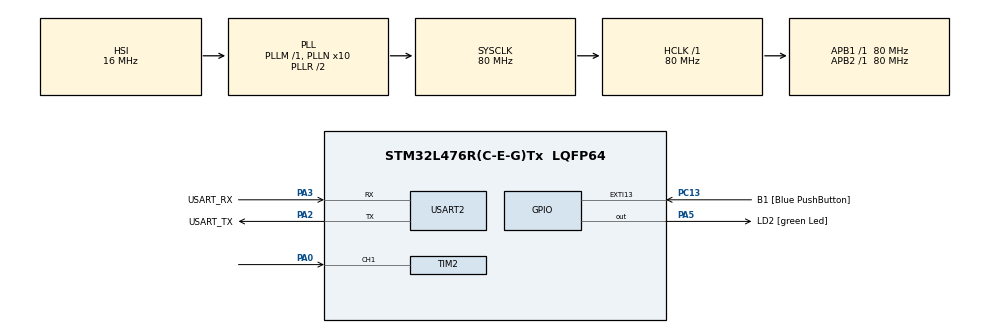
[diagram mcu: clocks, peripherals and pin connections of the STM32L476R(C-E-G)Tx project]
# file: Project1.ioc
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Mcu.Family=STM32L4
Mcu.Name=STM32L476R(C-E-G)Tx
Mcu.Package=LQFP64
NVIC.PriorityGroup=NVIC_PRIORITYGROUP_4
NVIC.TIM2_IRQn=true\:0\:0\:false\:false\:true\:true\:true\:true
PA0.Signal=S_TIM2_CH1
PA13\ (JTMS-SWDIO).GPIO_Label=TMS
PA13\ (JTMS-SWDIO).Mode=Serial_Wire
PA13\ (JTMS-SWDIO).Signal=SYS_JTMS-SWDIO
PA14\ (JTCK-SWCLK).GPIO_Label=TCK
PA14\ (JTCK-SWCLK).Mode=Serial_Wire
PA14\ (JTCK-SWCLK).Signal=SYS_JTCK-SWCLK
PA2.GPIO_Label=USART_TX
PA2.GPIO_Mode=GPIO_MODE_AF_PP
PA2.GPIO_PuPd=GPIO_NOPULL
PA2.GPIO_Speed=GPIO_SPEED_FREQ_VERY_HIGH
PA2.Mode=Asynchronous
PA2.Signal=USART2_TX
PA3.GPIO_Label=USART_RX
PA3.GPIO_Mode=GPIO_MODE_AF_PP
PA3.GPIO_PuPd=GPIO_NOPULL
PA3.GPIO_Speed=GPIO_SPEED_FREQ_VERY_HIGH
PA3.Mode=Asynchronous
PA3.Signal=USART2_RX
PA5.GPIO_Label=LD2 [green Led]
PA5.GPIO_ModeDefaultOutputPP=GPIO_MODE_OUTPUT_PP
PA5.GPIO_PuPd=GPIO_NOPULL
PA5.GPIO_Speed=GPIO_SPEED_FREQ_LOW
PA5.Signal=GPIO_Output
PB3\ (JTDO-TRACESWO).GPIO_Label=SWO
PB3\ (JTDO-TRACESWO).Signal=SYS_JTDO-SWO
PC13.GPIO_Label=B1 [Blue PushButton]
PC13.GPIO_ModeDefaultEXTI=GPIO_MODE_IT_FALLING
PC13.GPIO_PuPd=GPIO_NOPULL
PC13.Signal=GPXTI13
PC14-OSC32_IN\ (PC14).Mode=LSE-External-Oscillator
PC14-OSC32_IN\ (PC14).Signal=RCC_OSC32_IN
PC15-OSC32_OUT\ (PC15).Mode=LSE-External-Oscillator
PC15-OSC32_OUT\ (PC15).Signal=RCC_OSC32_OUT
PH0-OSC_IN\ (PH0).Signal=RCC_OSC_IN
PH1-OSC_OUT\ (PH1).Signal=RCC_OSC_OUT
ProjectManager.HeapSize=0x200
ProjectManager.StackSize=0x400
ProjectManager.TargetToolchain=STM32CubeIDE
RCC.ADCFreq_Value=64000000
RCC.AHBFreq_Value=80000000
RCC.APB1Freq_Value=80000000
RCC.APB1TimFreq_Value=80000000
RCC.APB2Freq_Value=80000000
RCC.APB2TimFreq_Value=80000000
RCC.CortexFreq_Value=80000000
RCC.HCLKFreq_Value=80000000
RCC.HSE_VALUE=8000000
RCC.HSI_VALUE=16000000
RCC.MSI_VALUE=4000000
RCC.PLLN=10
RCC.PLLSourceVirtual=RCC_PLLSOURCE_HSI
RCC.PREFETCH_ENABLE=1
RCC.SYSCLKFreq_VALUE=80000000
RCC.SYSCLKSource=RCC_SYSCLKSOURCE_PLLCLK
RCC.USBFreq_Value=64000000
RCC.VCOOutputFreq_Value=160000000
SH.S_TIM2_CH1.0=TIM2_CH1,Input_Capture1_from_TI1
TIM2.Channel-Input_Capture1_from_TI1=TIM_CHANNEL_1
TIM2.Prescaler=80 - 1
USART2.VirtualMode-Asynchronous=VM_ASYNC
VP_TIM2_VS_ClockSourceINT.Mode=Internal
board=NUCLEO-L476RG

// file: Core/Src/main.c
/* USER CODE BEGIN Header */
/**
  ******************************************************************************
  * @file           : main.c
  * @brief          : Main program body
  ******************************************************************************
  * @attention
  *
  * Copyright (c) 2022 STMicroelectronics.
  * All rights reserved.
  *
  * This software is licensed under terms that can be found in the LICENSE file
  * in the root directory of this software component.
  * If no LICENSE file comes with this software, it is provided AS-IS.
  *
  ******************************************************************************
  */
/* USER CODE END Header */
#include "main.h"

/* USER CODE BEGIN Includes */
#include "stdio.h"
#include "stdlib.h"
#include "uart.h"
#include "string.h"
/* USER CODE END Includes */

/* USER CODE BEGIN PD */
#define MAX_SIZE 50
#define CLK 80000000
#define PRESCALAR 80
/* USER CODE END PD */

TIM_HandleTypeDef htim2;

UART_HandleTypeDef huart2;

/* USER CODE BEGIN PV */
uint32_t buffer[20] = {0};	     // holds the user response
int buckets[101][2] = {0};
uint32_t ic_val_1 = 0;
uint32_t ic_val_2 = 0;
int first_flg = 0;
_Bool int_flg = 0;
int frequency = 0;

/* USER CODE END PV */

void SystemClock_Config(void);
static void MX_GPIO_Init(void);
static void MX_USART2_UART_Init(void);
static void MX_TIM2_Init(void);

int main(void)
{
  /* USER CODE BEGIN 1 */
	int mid_frequency = 1000;
	int lower_limit = mid_frequency - 50;
	int upper_limit = lower_limit + 100;
	char *pend;
	int sum = 0;

	memset(buckets, 0, 202);
  /* USER CODE END 1 */

  /* MCU Configuration--------------------------------------------------------*/

  /* Reset of all peripherals, Initializes the Flash interface and the Systick. */
  HAL_Init();

  /* Configure the system clock */
  SystemClock_Config();

  /* Initialize all configured peripherals */
  MX_GPIO_Init();
  MX_USART2_UART_Init();
  MX_TIM2_Init();
  /* USER CODE BEGIN 2 */
  HAL_TIM_IC_Start_IT(&htim2, TIM_CHANNEL_1); // Starts timer 2 in input capture mode
  /* USER CODE END 2 */

  /* Infinite loop */
  /* USER CODE BEGIN WHILE */
  while (power_on_self_test() == 0)
  {
    /* USER CODE END WHILE */

    /* USER CODE BEGIN 3 */
	  printf("\n\rDisplaying Current Spectrum Bounds: \n\r\tLowerLimit Frequency: %d\n\r", lower_limit);
	  printf("\tInitial Midpoint Frequency: %d\n\r", mid_frequency);
	  printf("\tUpperLimit Frequency: %d\n\r", upper_limit);
	  printf("Is this okay?: \n");
	  get_line(buffer, MAX_SIZE);

	  if(strchr(buffer, 'n') || strchr(buffer, 'N') || strchr(buffer, 'No') || strchr(buffer, 'no'))
	  {
		  memset(buffer, 0, sizeof(buffer));
		  printf("Please specify a new lower limit (in Hz): \n\r");
		  get_line(buffer, MAX_SIZE);
		  //HAL_Delay(500);

		  mid_frequency = strtol(buffer, &pend, 10);
		  lower_limit = mid_frequency - 50;
		  upper_limit = mid_frequency + 50;
		  printf("\tLowerLimit Frequency: %d\n\r", lower_limit);
		  printf("This is the middle frequency: %d\n\r", mid_frequency);
		  printf("\tUpperLimit Frequency: %d\n\r", upper_limit);

		  printf("\n\r");
	  }

	  for(int i = 0; i <= 100; i++)
	  {
		  buckets[i][0] = lower_limit + i;
		  buckets[i][1] = 0;
	  }

	  printf("\n\rMeasuring...\n\r");

	  int diff = 0;
	  int n = 0;

	  do
	  {
		  if(int_flg)
		  {
			  if(frequency >= lower_limit && frequency <= upper_limit)
			  {
				  diff = frequency - lower_limit;
				  buckets[diff][1] += 1;
				  n++;
			  }

			  int_flg = 0;

		  }
	  }while(n < 1000);

	  printf("Measuring complete, displaying results: \n\r");

	  for(int i = 0; i <= 100; i++)
	  {
		  if(buckets[i][1] != 0)
		  {
			  printf("%d: \t%d\n\r", buckets[i][0], buckets[i][1]);
			  sum += buckets[i][1];
		  }
	  }

	  if(sum < 1000)
	  {
		  int missing = 1000 - sum;
		  printf("There are %d values measured outside of the limits.", missing);
	  }

	  printf("Play again?\n\r");
	  get_line(buffer, MAX_SIZE);

	  if(strchr(buffer, 'n') || strchr(buffer, 'N') || strchr(buffer, 'No') || strchr(buffer, 'no'))
	  {
		  printf("Thanks for playing. Have a good day!\n\r");
		  return 0;
	  }

  }
  main();
  /* USER CODE END 3 */
}

void SystemClock_Config(void)
{
  RCC_OscInitTypeDef RCC_OscInitStruct = {0};
  RCC_ClkInitTypeDef RCC_ClkInitStruct = {0};

  /** Configure the main internal regulator output voltage
  */
  if (HAL_PWREx_ControlVoltageScaling(PWR_REGULATOR_VOLTAGE_SCALE1) != HAL_OK)
  {
    Error_Handler();
  }

  /** Initializes the RCC Oscillators according to the specified parameters
  * in the RCC_OscInitTypeDef structure.
  */
  RCC_OscInitStruct.OscillatorType = RCC_OSCILLATORTYPE_HSI;
  RCC_OscInitStruct.HSIState = RCC_HSI_ON;
  RCC_OscInitStruct.HSICalibrationValue = RCC_HSICALIBRATION_DEFAULT;
  RCC_OscInitStruct.PLL.PLLState = RCC_PLL_ON;
  RCC_OscInitStruct.PLL.PLLSource = RCC_PLLSOURCE_HSI;
  RCC_OscInitStruct.PLL.PLLM = 1;
  RCC_OscInitStruct.PLL.PLLN = 10;
  RCC_OscInitStruct.PLL.PLLP = RCC_PLLP_DIV7;
  RCC_OscInitStruct.PLL.PLLQ = RCC_PLLQ_DIV2;
  RCC_OscInitStruct.PLL.PLLR = RCC_PLLR_DIV2;
  if (HAL_RCC_OscConfig(&RCC_OscInitStruct) != HAL_OK)
  {
    Error_Handler();
  }

  /** Initializes the CPU, AHB and APB buses clocks
  */
  RCC_ClkInitStruct.ClockType = RCC_CLOCKTYPE_HCLK|RCC_CLOCKTYPE_SYSCLK
                              |RCC_CLOCKTYPE_PCLK1|RCC_CLOCKTYPE_PCLK2;
  RCC_ClkInitStruct.SYSCLKSource = RCC_SYSCLKSOURCE_PLLCLK;
  RCC_ClkInitStruct.AHBCLKDivider = RCC_SYSCLK_DIV1;
  RCC_ClkInitStruct.APB1CLKDivider = RCC_HCLK_DIV1;
  RCC_ClkInitStruct.APB2CLKDivider = RCC_HCLK_DIV1;

  if (HAL_RCC_ClockConfig(&RCC_ClkInitStruct, FLASH_LATENCY_4) != HAL_OK)
  {
    Error_Handler();
  }
}

static void MX_TIM2_Init(void)
{

  TIM_ClockConfigTypeDef sClockSourceConfig = {0};
  TIM_MasterConfigTypeDef sMasterConfig = {0};
  TIM_IC_InitTypeDef sConfigIC = {0};

  htim2.Instance = TIM2;
  htim2.Init.Prescaler = 80 - 1;
  htim2.Init.CounterMode = TIM_COUNTERMODE_UP;
  htim2.Init.Period = 4294967295;
  htim2.Init.ClockDivision = TIM_CLOCKDIVISION_DIV1;
  htim2.Init.AutoReloadPreload = TIM_AUTORELOAD_PRELOAD_DISABLE;
  if (HAL_TIM_Base_Init(&htim2) != HAL_OK)
  {
    Error_Handler();
  }
  sClockSourceConfig.ClockSource = TIM_CLOCKSOURCE_INTERNAL;
  if (HAL_TIM_ConfigClockSource(&htim2, &sClockSourceConfig) != HAL_OK)
  {
    Error_Handler();
  }
  if (HAL_TIM_IC_Init(&htim2) != HAL_OK)
  {
    Error_Handler();
  }
  sMasterConfig.MasterOutputTrigger = TIM_TRGO_RESET;
  sMasterConfig.MasterSlaveMode = TIM_MASTERSLAVEMODE_DISABLE;
  if (HAL_TIMEx_MasterConfigSynchronization(&htim2, &sMasterConfig) != HAL_OK)
  {
    Error_Handler();
  }
  sConfigIC.ICPolarity = TIM_INPUTCHANNELPOLARITY_RISING;
  sConfigIC.ICSelection = TIM_ICSELECTION_DIRECTTI;
  sConfigIC.ICPrescaler = TIM_ICPSC_DIV1;
  sConfigIC.ICFilter = 0;
  if (HAL_TIM_IC_ConfigChannel(&htim2, &sConfigIC, TIM_CHANNEL_1) != HAL_OK)
  {
    Error_Handler();
  }

}

static void MX_USART2_UART_Init(void)
{

  huart2.Instance = USART2;
  huart2.Init.BaudRate = 115200;
  huart2.Init.WordLength = UART_WORDLENGTH_8B;
  huart2.Init.StopBits = UART_STOPBITS_1;
  huart2.Init.Parity = UART_PARITY_NONE;
  huart2.Init.Mode = UART_MODE_TX_RX;
  huart2.Init.HwFlowCtl = UART_HWCONTROL_NONE;
  huart2.Init.OverSampling = UART_OVERSAMPLING_16;
  huart2.Init.OneBitSampling = UART_ONE_BIT_SAMPLE_DISABLE;
  huart2.AdvancedInit.AdvFeatureInit = UART_ADVFEATURE_NO_INIT;
  if (HAL_UART_Init(&huart2) != HAL_OK)
  {
    Error_Handler();
  }

}

static void MX_GPIO_Init(void)
{
  GPIO_InitTypeDef GPIO_InitStruct = {0};

  /* GPIO Ports Clock Enable */
  __HAL_RCC_GPIOC_CLK_ENABLE();
  __HAL_RCC_GPIOH_CLK_ENABLE();
  __HAL_RCC_GPIOA_CLK_ENABLE();
  __HAL_RCC_GPIOB_CLK_ENABLE();

  /*Configure GPIO pin Output Level */
  HAL_GPIO_WritePin(LD2_GPIO_Port, LD2_Pin, GPIO_PIN_RESET);

  /*Configure GPIO pin : B1_Pin */
  GPIO_InitStruct.Pin = B1_Pin;
  GPIO_InitStruct.Mode = GPIO_MODE_IT_FALLING;
  GPIO_InitStruct.Pull = GPIO_NOPULL;
  HAL_GPIO_Init(B1_GPIO_Port, &GPIO_InitStruct);

  /*Configure GPIO pin : LD2_Pin */
  GPIO_InitStruct.Pin = LD2_Pin;
  GPIO_InitStruct.Mode = GPIO_MODE_OUTPUT_PP;
  GPIO_InitStruct.Pull = GPIO_NOPULL;
  GPIO_InitStruct.Speed = GPIO_SPEED_FREQ_LOW;
  HAL_GPIO_Init(LD2_GPIO_Port, &GPIO_InitStruct);

}

/* USER CODE BEGIN 4 */
_Bool power_on_self_test(void)
{
	printf("Checking Power On State...\n\r");
	HAL_Delay(2000);
	if(frequency == 0)
	{
		printf("POST Failed. Please connect a signal and try again.\n\r");
		return 1;
	}

	printf("POST  Passed. Beginning the Program!\n\n\r");
	return 0;
}

void HAL_TIM_IC_CaptureCallback(TIM_HandleTypeDef *htim)
{
	int diff = 0;

	if (htim->Channel == HAL_TIM_ACTIVE_CHANNEL_1)
	{
		if(first_flg == 0)
		{
			ic_val_1 = HAL_TIM_ReadCapturedValue(htim, TIM_CHANNEL_1);
			first_flg = 1;
		}
		else
		{
			ic_val_2 = HAL_TIM_ReadCapturedValue(htim, TIM_CHANNEL_1);

			if(ic_val_2 > ic_val_1)
			{
				diff = ic_val_2 - ic_val_1;
			}
			else if(ic_val_1 > ic_val_2)
			{
				diff = (0xffffffff - ic_val_1) + ic_val_2;
			}

			float refclk = CLK/(PRESCALAR);
			frequency = refclk/diff;
			__HAL_TIM_SET_COUNTER(htim, 0);  // reset the counter
			first_flg = 0; // reset the first value flag
			int_flg = 1;
		}
	}
}
/* USER CODE END 4 */

void Error_Handler(void)
{
  /* USER CODE BEGIN Error_Handler_Debug */
  /* User can add his own implementation to report the HAL error return state */
  __disable_irq();
  while (1)
  {
	  printf("ERROR: Interrupt Not Working. Please Restart Program.\n\r");
  }
  /* USER CODE END Error_Handler_Debug */
}
